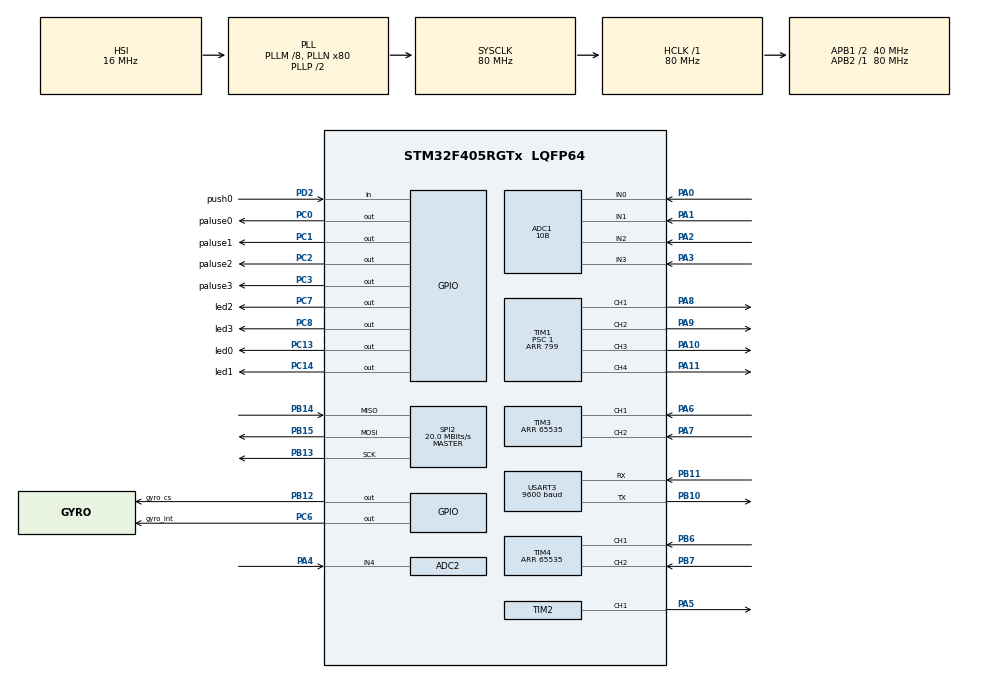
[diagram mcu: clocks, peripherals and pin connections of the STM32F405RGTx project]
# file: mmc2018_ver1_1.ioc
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ADC1.Channel-16\#ChannelRegularConversion=ADC_CHANNEL_0
ADC1.Channel-17\#ChannelRegularConversion=ADC_CHANNEL_1
ADC1.Channel-18\#ChannelRegularConversion=ADC_CHANNEL_2
ADC1.Channel-19\#ChannelRegularConversion=ADC_CHANNEL_3
ADC1.ContinuousConvMode=ENABLE
ADC1.DMAContinuousRequests=ENABLE
ADC1.NbrOfConversion=4
ADC1.NbrOfConversionFlag=1
ADC1.Rank-16\#ChannelRegularConversion=1
ADC1.Rank-17\#ChannelRegularConversion=2
ADC1.Rank-18\#ChannelRegularConversion=3
ADC1.Rank-19\#ChannelRegularConversion=4
ADC1.Resolution=ADC_RESOLUTION_10B
ADC1.SamplingTime-16\#ChannelRegularConversion=ADC_SAMPLETIME_28CYCLES
ADC1.SamplingTime-17\#ChannelRegularConversion=ADC_SAMPLETIME_28CYCLES
ADC1.SamplingTime-18\#ChannelRegularConversion=ADC_SAMPLETIME_28CYCLES
ADC1.SamplingTime-19\#ChannelRegularConversion=ADC_SAMPLETIME_28CYCLES
ADC1.ScanConvMode=ENABLE
ADC1.master=1
ADC2.Channel-18\#ChannelRegularConversion=ADC_CHANNEL_4
ADC2.ClockPrescaler=ADC_CLOCK_SYNC_PCLK_DIV4
ADC2.ContinuousConvMode=DISABLE
ADC2.DMAContinuousRequests=DISABLE
ADC2.DataAlign=ADC_DATAALIGN_RIGHT
ADC2.DiscontinuousConvMode=DISABLE
ADC2.EOCSelection=ADC_EOC_SINGLE_CONV
ADC2.EnableAnalogWatchDog=false
ADC2.ExternalTrigConv=ADC_SOFTWARE_START
ADC2.ExternalTrigConvEdge=ADC_EXTERNALTRIGCONVEDGE_NONE
ADC2.InjNumberOfConversion=0
ADC2.NbrOfConversion=1
ADC2.NbrOfConversionFlag=1
ADC2.Rank-18\#ChannelRegularConversion=1
ADC2.Resolution=ADC_RESOLUTION_12B
ADC2.SamplingTime-18\#ChannelRegularConversion=ADC_SAMPLETIME_3CYCLES
ADC2.ScanConvMode=DISABLE
Dma.ADC1.0.Direction=DMA_PERIPH_TO_MEMORY
Dma.ADC1.0.FIFOMode=DMA_FIFOMODE_DISABLE
Dma.ADC1.0.Instance=DMA2_Stream0
Dma.ADC1.0.MemDataAlignment=DMA_MDATAALIGN_HALFWORD
Dma.ADC1.0.MemInc=DMA_MINC_ENABLE
Dma.ADC1.0.Mode=DMA_NORMAL
Dma.ADC1.0.PeriphDataAlignment=DMA_PDATAALIGN_HALFWORD
Dma.ADC1.0.PeriphInc=DMA_PINC_DISABLE
Dma.ADC1.0.Priority=DMA_PRIORITY_HIGH
Dma.Request0=ADC1
Mcu.Family=STM32F4
Mcu.Name=STM32F405RGTx
Mcu.Package=LQFP64
NVIC.DMA2_Stream0_IRQn=true\:0\:0\:false\:false\:true\:false
NVIC.PriorityGroup=NVIC_PRIORITYGROUP_4
PA0-WKUP.Signal=ADCx_IN0
PA1.Signal=ADCx_IN1
PA10.Signal=S_TIM1_CH3
PA11.Signal=S_TIM1_CH4
PA2.Signal=ADCx_IN2
PA3.Signal=ADCx_IN3
PA4.Signal=ADCx_IN4
PA5.Signal=S_TIM2_CH1_ETR
PA6.Signal=S_TIM3_CH1
PA7.Signal=S_TIM3_CH2
PA8.Signal=S_TIM1_CH1
PA9.Signal=S_TIM1_CH2
PB10.Mode=Asynchronous
PB10.Signal=USART3_TX
PB11.Mode=Asynchronous
PB11.Signal=USART3_RX
PB12.GPIO_Label=gyro_cs
PB12.Signal=GPIO_Output
PB13.Mode=Full_Duplex_Master
PB13.Signal=SPI2_SCK
PB14.Mode=Full_Duplex_Master
PB14.Signal=SPI2_MISO
PB15.Mode=Full_Duplex_Master
PB15.Signal=SPI2_MOSI
PB6.Signal=S_TIM4_CH1
PB7.Signal=S_TIM4_CH2
PC0.GPIO_Label=paluse0
PC0.Signal=GPIO_Output
PC1.GPIO_Label=paluse1
PC1.Signal=GPIO_Output
PC13-ANTI_TAMP.GPIO_Label=led0
PC13-ANTI_TAMP.Signal=GPIO_Output
PC14-OSC32_IN.GPIO_Label=led1
PC14-OSC32_IN.Signal=GPIO_Output
PC2.GPIO_Label=paluse2
PC2.Signal=GPIO_Output
PC3.GPIO_Label=paluse3
PC3.Signal=GPIO_Output
PC6.GPIO_Label=gyro_int
PC6.Signal=GPIO_Output
PC7.GPIO_Label=led2
PC7.Signal=GPIO_Output
PC8.GPIO_Label=led3
PC8.Signal=GPIO_Output
PD2.GPIO_Label=push0
PD2.Signal=GPIO_Input
ProjectManager.HeapSize=0x200
ProjectManager.StackSize=0x400
ProjectManager.TargetToolchain=Makefile
RCC.48MHZClocksFreq_Value=40000000
RCC.AHBFreq_Value=80000000
RCC.APB1CLKDivider=RCC_HCLK_DIV2
RCC.APB1Freq_Value=40000000
RCC.APB1TimFreq_Value=80000000
RCC.APB2Freq_Value=80000000
RCC.APB2TimFreq_Value=80000000
RCC.CortexFreq_Value=80000000
RCC.HCLKFreq_Value=80000000
RCC.HSE_VALUE=25000000
RCC.HSI_VALUE=16000000
RCC.LSE_VALUE=32768
RCC.PLLM=8
RCC.PLLN=80
RCC.SYSCLKFreq_VALUE=80000000
RCC.SYSCLKSource=RCC_SYSCLKSOURCE_PLLCLK
RCC.VCOOutputFreq_Value=160000000
SH.ADCx_IN0.0=ADC1_IN0,IN0
SH.ADCx_IN1.0=ADC1_IN1,IN1
SH.ADCx_IN2.0=ADC1_IN2,IN2
SH.ADCx_IN3.0=ADC1_IN3,IN3
SH.ADCx_IN4.0=ADC2_IN4,IN4
SH.S_TIM1_CH1.0=TIM1_CH1,PWM Generation1 CH1
SH.S_TIM1_CH2.0=TIM1_CH2,PWM Generation2 CH2
SH.S_TIM1_CH3.0=TIM1_CH3,PWM Generation3 CH3
SH.S_TIM1_CH4.0=TIM1_CH4,PWM Generation4 CH4
SH.S_TIM2_CH1_ETR.0=TIM2_CH1,PWM Generation1 CH1
SH.S_TIM3_CH1.0=TIM3_CH1,Encoder_Interface
SH.S_TIM3_CH2.0=TIM3_CH2,Encoder_Interface
SH.S_TIM4_CH1.0=TIM4_CH1,Encoder_Interface
SH.S_TIM4_CH2.0=TIM4_CH2,Encoder_Interface
SPI2.CalculateBaudRate=20.0 MBits/s
SPI2.Direction=SPI_DIRECTION_2LINES
SPI2.Mode=SPI_MODE_MASTER
SPI2.VirtualType=VM_MASTER
TIM1.Channel-PWM\ Generation1\ CH1=TIM_CHANNEL_1
TIM1.Channel-PWM\ Generation2\ CH2=TIM_CHANNEL_2
TIM1.Channel-PWM\ Generation3\ CH3=TIM_CHANNEL_3
TIM1.Channel-PWM\ Generation4\ CH4=TIM_CHANNEL_4
TIM1.Period=799
TIM1.Prescaler=1
TIM2.Channel-PWM\ Generation1\ CH1=TIM_CHANNEL_1
TIM2.Period=999
TIM2.Prescaler=9
TIM3.Period=65535
TIM4.Period=65535
USART3.BaudRate=9600
USART3.VirtualMode=VM_ASYNC
board=mmc2018_ver1_1

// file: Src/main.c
/**
  ******************************************************************************
  * @file           : main.c
  * @brief          : Main program body
  ******************************************************************************
  ** This notice applies to any and all portions of this file
  * that are not between comment pairs USER CODE BEGIN and
  * USER CODE END. Other portions of this file, whether
  * inserted by the user or by software development tools
  * are owned by their respective copyright owners.
  *
  * COPYRIGHT(c) 2018 STMicroelectronics
  *
  * Redistribution and use in source and binary forms, with or without modification,
  * are permitted provided that the following conditions are met:
  *   1. Redistributions of source code must retain the above copyright notice,
  *      this list of conditions and the following disclaimer.
  *   2. Redistributions in binary form must reproduce the above copyright notice,
  *      this list of conditions and the following disclaimer in the documentation
  *      and/or other materials provided with the distribution.
  *   3. Neither the name of STMicroelectronics nor the names of its contributors
  *      may be used to endorse or promote products derived from this software
  *      without specific prior written permission.
  *
  * THIS SOFTWARE IS PROVIDED BY THE COPYRIGHT HOLDERS AND CONTRIBUTORS "AS IS"
  * AND ANY EXPRESS OR IMPLIED WARRANTIES, INCLUDING, BUT NOT LIMITED TO, THE
  * IMPLIED WARRANTIES OF MERCHANTABILITY AND FITNESS FOR A PARTICULAR PURPOSE ARE
  * DISCLAIMED. IN NO EVENT SHALL THE COPYRIGHT HOLDER OR CONTRIBUTORS BE LIABLE
  * FOR ANY DIRECT, INDIRECT, INCIDENTAL, SPECIAL, EXEMPLARY, OR CONSEQUENTIAL
  * DAMAGES (INCLUDING, BUT NOT LIMITED TO, PROCUREMENT OF SUBSTITUTE GOODS OR
  * SERVICES; LOSS OF USE, DATA, OR PROFITS; OR BUSINESS INTERRUPTION) HOWEVER
  * CAUSED AND ON ANY THEORY OF LIABILITY, WHETHER IN CONTRACT, STRICT LIABILITY,
  * OR TORT (INCLUDING NEGLIGENCE OR OTHERWISE) ARISING IN ANY WAY OUT OF THE USE
  * OF THIS SOFTWARE, EVEN IF ADVISED OF THE POSSIBILITY OF SUCH DAMAGE.
  *
  ******************************************************************************
  */
#include "main.h"
#include "stm32f4xx_hal.h"
#include "adc.h"
#include "dma.h"
#include "spi.h"
#include "tim.h"
#include "usart.h"
#include "gpio.h"

/* USER CODE BEGIN Includes */
#include "arm_math.h"
#include "global.h"
#include "control.h"
#include "flash.h"
#include "mode.h"
#include "motion.h"
#include "function.h"
/* USER CODE END Includes */

/* USER CODE BEGIN PV */
#ifdef __GNUC__
#define PUTCHAR_PROTOTYPE int __io_putchar(int ch)
#else
#define PUTCHAR_PROTOTYPE int fputc(int ch, FILE *f)
#endif /* __GNUC__ */
void __io_putchar(uint8_t ch) {
  HAL_UART_Transmit(&huart3, &ch, 1, 1);
}
/* Private variables ---------------------------------------------------------*/

/* USER CODE END PV */

void SystemClock_Config(void);

/* USER CODE BEGIN PFP */
/* Private function prototypes -----------------------------------------------*/
void Init_Main(void);
/* USER CODE END PFP */

int main(void)
{

  /* MCU Configuration----------------------------------------------------------*/

  /* Reset of all peripherals, Initializes the Flash interface and the Systick. */
  HAL_Init();

  /* Configure the system clock */
  SystemClock_Config();

  /* Initialize all configured peripherals */
  MX_GPIO_Init();
  MX_DMA_Init();
  MX_USART3_UART_Init();
  MX_TIM4_Init();
  MX_SPI2_Init();
  MX_TIM3_Init();
  MX_TIM2_Init();
  MX_TIM1_Init();
  MX_ADC1_Init();
  MX_ADC2_Init();
  /* USER CODE BEGIN 2 */
  Init_Main();

  /* USER CODE END 2 */

  /* Infinite loop */
  /* USER CODE BEGIN WHILE */
  while (1)
  {
    Mode_mouse(Mode_select());
  /* USER CODE END WHILE */

  }

}

void SystemClock_Config(void)
{

  RCC_OscInitTypeDef RCC_OscInitStruct;
  RCC_ClkInitTypeDef RCC_ClkInitStruct;

    /**Configure the main internal regulator output voltage
    */
  __HAL_RCC_PWR_CLK_ENABLE();

  __HAL_PWR_VOLTAGESCALING_CONFIG(PWR_REGULATOR_VOLTAGE_SCALE1);

    /**Initializes the CPU, AHB and APB busses clocks
    */
  RCC_OscInitStruct.OscillatorType = RCC_OSCILLATORTYPE_HSI;
  RCC_OscInitStruct.HSIState = RCC_HSI_ON;
  RCC_OscInitStruct.HSICalibrationValue = 16;
  RCC_OscInitStruct.PLL.PLLState = RCC_PLL_ON;
  RCC_OscInitStruct.PLL.PLLSource = RCC_PLLSOURCE_HSI;
  RCC_OscInitStruct.PLL.PLLM = 8;
  RCC_OscInitStruct.PLL.PLLN = 80;
  RCC_OscInitStruct.PLL.PLLP = RCC_PLLP_DIV2;
  RCC_OscInitStruct.PLL.PLLQ = 4;
  if (HAL_RCC_OscConfig(&RCC_OscInitStruct) != HAL_OK)
  {
    _Error_Handler(__FILE__, __LINE__);
  }

    /**Initializes the CPU, AHB and APB busses clocks
    */
  RCC_ClkInitStruct.ClockType = RCC_CLOCKTYPE_HCLK|RCC_CLOCKTYPE_SYSCLK
                              |RCC_CLOCKTYPE_PCLK1|RCC_CLOCKTYPE_PCLK2;
  RCC_ClkInitStruct.SYSCLKSource = RCC_SYSCLKSOURCE_PLLCLK;
  RCC_ClkInitStruct.AHBCLKDivider = RCC_SYSCLK_DIV1;
  RCC_ClkInitStruct.APB1CLKDivider = RCC_HCLK_DIV2;
  RCC_ClkInitStruct.APB2CLKDivider = RCC_HCLK_DIV1;

  if (HAL_RCC_ClockConfig(&RCC_ClkInitStruct, FLASH_LATENCY_2) != HAL_OK)
  {
    _Error_Handler(__FILE__, __LINE__);
  }

    /**Configure the Systick interrupt time
    */
  HAL_SYSTICK_Config(HAL_RCC_GetHCLKFreq()/1000);

    /**Configure the Systick
    */
  HAL_SYSTICK_CLKSourceConfig(SYSTICK_CLKSOURCE_HCLK);

  /* SysTick_IRQn interrupt configuration */
  HAL_NVIC_SetPriority(SysTick_IRQn, 15, 0);
}

/* USER CODE BEGIN 4 */

/****************************************************************************************
 * outline  : init main(setbuf,tim5,3,4,gyro,battery,flag,ms_count)
 * argument : void
 * return   : void
********************************************************************************************/
void Init_Main(void){
  setbuf(stdout, NULL);
  HAL_TIM_Encoder_Start( &htim3, TIM_CHANNEL_ALL );
  HAL_TIM_Encoder_Start( &htim4, TIM_CHANNEL_ALL );
  set_mpu6500();
  Batt_Check();
  setSensorConstant(&sen_l,582,485);
  setSensorConstant(&sen_front,672,590);
  setSensorConstant(&sen_r,530,550);
  flag.straight = OFF;
  flag.yawrate = OFF;
  flag.wall = OFF;
  straight_cnt = 0;
  yawrate_cnt = 0;
  Output_Buzzer(HZ_D);
  Output_Buzzer(HZ_F);
}

/* USER CODE END 4 */

void _Error_Handler(char *file, int line)
{
  while(1)
  {
  }
}

/************************ (C) COPYRIGHT STMicroelectronics *****END OF FILE****/
